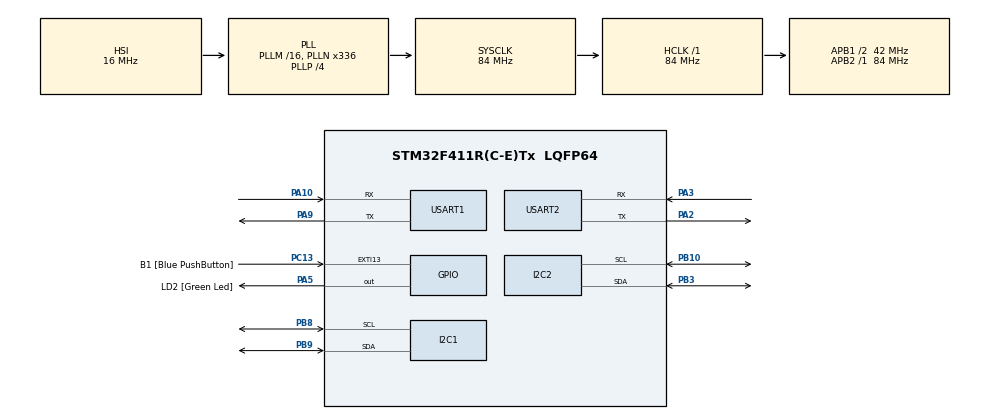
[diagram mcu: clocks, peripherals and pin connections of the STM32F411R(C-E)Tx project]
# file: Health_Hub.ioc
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FREERTOS.Mutexes01=mutexI2C,Dynamic,NULL,Available
FREERTOS.Queues01=qBPMDisplay,1,4,1,Dynamic,NULL,NULL;qTempData,1,4,1,Dynamic,NULL,NULL;qAttitudeDisplay,1,8,1,Dynamic,NULL,NULL;qAttitudeAlgo,1,24,1,Dynamic,NULL,NULL;qBPMalgo,10,uint32_t,0,Dynamic,NULL,NULL
FREERTOS.Tasks01=MotionTask,40,512,fnMotionTask,Default,NULL,Dynamic,NULL,NULL;HeartRateTask,32,128,fnHeartTask,Default,NULL,Dynamic,NULL,NULL;processTaskBPM,24,128,fnBPM,Default,NULL,Dynamic,NULL,NULL;TempTask,16,128,fnTempTask,Default,NULL,Dynamic,NULL,NULL;DisplayTask,8,512,fnDisplayTask,Default,NULL,Dynamic,NULL,NULL;AttitudeTask,32,128,fnAttitudeTask,Default,NULL,Dynamic,NULL,NULL
FREERTOS.configGENERATE_RUN_TIME_STATS=1
FREERTOS.configUSE_NEWLIB_REENTRANT=1
FREERTOS.configUSE_STATS_FORMATTING_FUNCTIONS=1
I2C2.I2C_Mode=I2C_Standard
Mcu.Family=STM32F4
Mcu.Name=STM32F411R(C-E)Tx
Mcu.Package=LQFP64
NVIC.PriorityGroup=NVIC_PRIORITYGROUP_4
NVIC.TIM1_TRG_COM_TIM11_IRQn=true\:5\:0\:false\:false\:true\:true\:true\:true\:true
NVIC.TIM1_UP_TIM10_IRQn=true\:15\:0\:false\:false\:true\:false\:false\:true\:true
NVIC.TimeBase=TIM1_UP_TIM10_IRQn
NVIC.TimeBaseIP=TIM1
PA10.Mode=Asynchronous
PA10.Signal=USART1_RX
PA13.GPIO_Label=TMS
PA13.Mode=Serial_Wire
PA13.Signal=SYS_JTMS-SWDIO
PA14.GPIO_Label=TCK
PA14.Mode=Serial_Wire
PA14.Signal=SYS_JTCK-SWCLK
PA2.Mode=Asynchronous
PA2.Signal=USART2_TX
PA3.Mode=Asynchronous
PA3.Signal=USART2_RX
PA5.GPIO_Label=LD2 [Green Led]
PA5.Signal=GPIO_Output
PA9.Mode=Asynchronous
PA9.Signal=USART1_TX
PB10.Mode=I2C
PB10.Signal=I2C2_SCL
PB3.Mode=I2C
PB3.Signal=I2C2_SDA
PB8.Mode=I2C
PB8.Signal=I2C1_SCL
PB9.Mode=I2C
PB9.Signal=I2C1_SDA
PC13-ANTI_TAMP.GPIO_Label=B1 [Blue PushButton]
PC13-ANTI_TAMP.GPIO_ModeDefaultEXTI=GPIO_MODE_IT_FALLING
PC13-ANTI_TAMP.Signal=GPXTI13
PC14-OSC32_IN.Mode=LSE-External-Oscillator
PC14-OSC32_IN.Signal=RCC_OSC32_IN
PC15-OSC32_OUT.Mode=LSE-External-Oscillator
PC15-OSC32_OUT.Signal=RCC_OSC32_OUT
PH0\ -\ OSC_IN.Mode=HSE-External-Clock-Source
PH0\ -\ OSC_IN.Signal=RCC_OSC_IN
PH1\ -\ OSC_OUT.Mode=HSE-External-Clock-Source
PH1\ -\ OSC_OUT.Signal=RCC_OSC_OUT
ProjectManager.HeapSize=0x200
ProjectManager.StackSize=0x400
ProjectManager.TargetToolchain=STM32CubeIDE
RCC.48MHZClocksFreq_Value=84000000
RCC.AHBFreq_Value=84000000
RCC.APB1CLKDivider=RCC_HCLK_DIV2
RCC.APB1Freq_Value=42000000
RCC.APB1TimFreq_Value=84000000
RCC.APB2Freq_Value=84000000
RCC.APB2TimFreq_Value=84000000
RCC.CortexFreq_Value=84000000
RCC.FLatency-AdvancedSettings=FLASH_LATENCY_2
RCC.HCLKFreq_Value=84000000
RCC.HSE_VALUE=8000000
RCC.HSI_VALUE=16000000
RCC.PLLN=336
RCC.PLLP=RCC_PLLP_DIV4
RCC.SYSCLKFreq_VALUE=84000000
RCC.SYSCLKSource=RCC_SYSCLKSOURCE_PLLCLK
RCC.VCOOutputFreq_Value=336000000
USART1.VirtualMode=VM_ASYNC
USART2.VirtualMode=VM_ASYNC
VP_FREERTOS_VS_CMSIS_V2.Mode=CMSIS_V2
VP_SYS_VS_tim1.Mode=TIM1
VP_TIM11_VS_ClockSourceINT.Mode=Enable_Timer
board=NUCLEO-F411RE

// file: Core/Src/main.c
/* USER CODE BEGIN Header */
/**
  ******************************************************************************
  * @file           : main.c
  * @brief          : Main program body
  ******************************************************************************
  * @attention
  *
  * Copyright (c) 2025 STMicroelectronics.
  * All rights reserved.
  *
  * This software is licensed under terms that can be found in the LICENSE file
  * in the root directory of this software component.
  * If no LICENSE file comes with this software, it is provided AS-IS.
  *
  ******************************************************************************
  */
/* USER CODE END Header */
#include "main.h"
#include "cmsis_os.h"

/* USER CODE BEGIN Includes */
#include "mainTask.hpp"
#include <stdio.h>
#include <string.h>
/* USER CODE END Includes */

I2C_HandleTypeDef hi2c1;
I2C_HandleTypeDef hi2c2;

TIM_HandleTypeDef htim11;

UART_HandleTypeDef huart1;
UART_HandleTypeDef huart2;

/* Definitions for MotionTask */
osThreadId_t MotionTaskHandle;
const osThreadAttr_t MotionTask_attributes = {
  .name = "MotionTask",
  .stack_size = 512 * 4,
  .priority = (osPriority_t) osPriorityHigh,
};
/* Definitions for HeartRateTask */
osThreadId_t HeartRateTaskHandle;
const osThreadAttr_t HeartRateTask_attributes = {
  .name = "HeartRateTask",
  .stack_size = 128 * 4,
  .priority = (osPriority_t) osPriorityAboveNormal,
};
/* Definitions for processTaskBPM */
osThreadId_t processTaskBPMHandle;
const osThreadAttr_t processTaskBPM_attributes = {
  .name = "processTaskBPM",
  .stack_size = 128 * 4,
  .priority = (osPriority_t) osPriorityNormal,
};
/* Definitions for TempTask */
osThreadId_t TempTaskHandle;
const osThreadAttr_t TempTask_attributes = {
  .name = "TempTask",
  .stack_size = 128 * 4,
  .priority = (osPriority_t) osPriorityBelowNormal,
};
/* Definitions for DisplayTask */
osThreadId_t DisplayTaskHandle;
const osThreadAttr_t DisplayTask_attributes = {
  .name = "DisplayTask",
  .stack_size = 512 * 4,
  .priority = (osPriority_t) osPriorityLow,
};
/* Definitions for AttitudeTask */
osThreadId_t AttitudeTaskHandle;
const osThreadAttr_t AttitudeTask_attributes = {
  .name = "AttitudeTask",
  .stack_size = 128 * 4,
  .priority = (osPriority_t) osPriorityAboveNormal,
};
/* Definitions for qBPMDisplay */
osMessageQueueId_t qBPMDisplayHandle;
const osMessageQueueAttr_t qBPMDisplay_attributes = {
  .name = "qBPMDisplay"
};
/* Definitions for qTempData */
osMessageQueueId_t qTempDataHandle;
const osMessageQueueAttr_t qTempData_attributes = {
  .name = "qTempData"
};
/* Definitions for qAttitudeDisplay */
osMessageQueueId_t qAttitudeDisplayHandle;
const osMessageQueueAttr_t qAttitudeDisplay_attributes = {
  .name = "qAttitudeDisplay"
};
/* Definitions for qAttitudeAlgo */
osMessageQueueId_t qAttitudeAlgoHandle;
const osMessageQueueAttr_t qAttitudeAlgo_attributes = {
  .name = "qAttitudeAlgo"
};
/* Definitions for qBPMalgo */
osMessageQueueId_t qBPMalgoHandle;
const osMessageQueueAttr_t qBPMalgo_attributes = {
  .name = "qBPMalgo"
};
/* Definitions for mutexI2C */
osMutexId_t mutexI2CHandle;
const osMutexAttr_t mutexI2C_attributes = {
  .name = "mutexI2C"
};

void SystemClock_Config(void);
static void MX_GPIO_Init(void);
static void MX_I2C1_Init(void);
static void MX_I2C2_Init(void);
static void MX_USART1_UART_Init(void);
static void MX_USART2_UART_Init(void);
static void MX_TIM11_Init(void);
void fnMotionTask(void *argument);
void fnHeartTask(void *argument);
void fnBPM(void *argument);
void fnTempTask(void *argument);
void fnDisplayTask(void *argument);
void fnAttitudeTask(void *argument);

int main(void)
{

  /* MCU Configuration--------------------------------------------------------*/

  /* Reset of all peripherals, Initializes the Flash interface and the Systick. */
  HAL_Init();

  /* Configure the system clock */
  SystemClock_Config();

  /* Initialize all configured peripherals */
  MX_GPIO_Init();
  MX_I2C1_Init();
  MX_I2C2_Init();
  MX_USART1_UART_Init();
  MX_USART2_UART_Init();
  MX_TIM11_Init();
  /* USER CODE BEGIN 2 */
  initMPUC();
  initBpmC();
  initTempC();
  initDisplayC();
  /* USER CODE END 2 */

  /* Init scheduler */
  osKernelInitialize();
  /* Create the mutex(es) */
  /* creation of mutexI2C */
  mutexI2CHandle = osMutexNew(&mutexI2C_attributes);

  /* Create the queue(s) */
  /* creation of qBPMDisplay */
  qBPMDisplayHandle = osMessageQueueNew (1, 4, &qBPMDisplay_attributes);

  /* creation of qTempData */
  qTempDataHandle = osMessageQueueNew (1, 4, &qTempData_attributes);

  /* creation of qAttitudeDisplay */
  qAttitudeDisplayHandle = osMessageQueueNew (1, 8, &qAttitudeDisplay_attributes);

  /* creation of qAttitudeAlgo */
  qAttitudeAlgoHandle = osMessageQueueNew (1, 24, &qAttitudeAlgo_attributes);

  /* creation of qBPMalgo */
  qBPMalgoHandle = osMessageQueueNew (10, sizeof(uint32_t), &qBPMalgo_attributes);

  /* Create the thread(s) */
  /* creation of MotionTask */
  MotionTaskHandle = osThreadNew(fnMotionTask, NULL, &MotionTask_attributes);

  /* creation of HeartRateTask */
  HeartRateTaskHandle = osThreadNew(fnHeartTask, NULL, &HeartRateTask_attributes);

  /* creation of processTaskBPM */
  processTaskBPMHandle = osThreadNew(fnBPM, NULL, &processTaskBPM_attributes);

  /* creation of TempTask */
  TempTaskHandle = osThreadNew(fnTempTask, NULL, &TempTask_attributes);

  /* creation of DisplayTask */
  DisplayTaskHandle = osThreadNew(fnDisplayTask, NULL, &DisplayTask_attributes);

  /* creation of AttitudeTask */
  AttitudeTaskHandle = osThreadNew(fnAttitudeTask, NULL, &AttitudeTask_attributes);

  /* Start scheduler */
  osKernelStart();

  /* We should never get here as control is now taken by the scheduler */

  /* Infinite loop */
  /* USER CODE BEGIN WHILE */

  //Never reached
  while (1)
  {
    /* USER CODE END WHILE */

  }
}

void SystemClock_Config(void)
{
  RCC_OscInitTypeDef RCC_OscInitStruct = {0};
  RCC_ClkInitTypeDef RCC_ClkInitStruct = {0};

  /** Configure the main internal regulator output voltage
  */
  __HAL_RCC_PWR_CLK_ENABLE();
  __HAL_PWR_VOLTAGESCALING_CONFIG(PWR_REGULATOR_VOLTAGE_SCALE1);

  /** Initializes the RCC Oscillators according to the specified parameters
  * in the RCC_OscInitTypeDef structure.
  */
  RCC_OscInitStruct.OscillatorType = RCC_OSCILLATORTYPE_HSI;
  RCC_OscInitStruct.HSIState = RCC_HSI_ON;
  RCC_OscInitStruct.HSICalibrationValue = RCC_HSICALIBRATION_DEFAULT;
  RCC_OscInitStruct.PLL.PLLState = RCC_PLL_ON;
  RCC_OscInitStruct.PLL.PLLSource = RCC_PLLSOURCE_HSI;
  RCC_OscInitStruct.PLL.PLLM = 16;
  RCC_OscInitStruct.PLL.PLLN = 336;
  RCC_OscInitStruct.PLL.PLLP = RCC_PLLP_DIV4;
  RCC_OscInitStruct.PLL.PLLQ = 4;
  if (HAL_RCC_OscConfig(&RCC_OscInitStruct) != HAL_OK)
  {
    Error_Handler();
  }

  /** Initializes the CPU, AHB and APB buses clocks
  */
  RCC_ClkInitStruct.ClockType = RCC_CLOCKTYPE_HCLK|RCC_CLOCKTYPE_SYSCLK
                              |RCC_CLOCKTYPE_PCLK1|RCC_CLOCKTYPE_PCLK2;
  RCC_ClkInitStruct.SYSCLKSource = RCC_SYSCLKSOURCE_PLLCLK;
  RCC_ClkInitStruct.AHBCLKDivider = RCC_SYSCLK_DIV1;
  RCC_ClkInitStruct.APB1CLKDivider = RCC_HCLK_DIV2;
  RCC_ClkInitStruct.APB2CLKDivider = RCC_HCLK_DIV1;

  if (HAL_RCC_ClockConfig(&RCC_ClkInitStruct, FLASH_LATENCY_2) != HAL_OK)
  {
    Error_Handler();
  }
}

static void MX_I2C1_Init(void)
{

  hi2c1.Instance = I2C1;
  hi2c1.Init.ClockSpeed = 100000;
  hi2c1.Init.DutyCycle = I2C_DUTYCYCLE_2;
  hi2c1.Init.OwnAddress1 = 0;
  hi2c1.Init.AddressingMode = I2C_ADDRESSINGMODE_7BIT;
  hi2c1.Init.DualAddressMode = I2C_DUALADDRESS_DISABLE;
  hi2c1.Init.OwnAddress2 = 0;
  hi2c1.Init.GeneralCallMode = I2C_GENERALCALL_DISABLE;
  hi2c1.Init.NoStretchMode = I2C_NOSTRETCH_DISABLE;
  if (HAL_I2C_Init(&hi2c1) != HAL_OK)
  {
    Error_Handler();
  }

}

static void MX_I2C2_Init(void)
{

  hi2c2.Instance = I2C2;
  hi2c2.Init.ClockSpeed = 100000;
  hi2c2.Init.DutyCycle = I2C_DUTYCYCLE_2;
  hi2c2.Init.OwnAddress1 = 0;
  hi2c2.Init.AddressingMode = I2C_ADDRESSINGMODE_7BIT;
  hi2c2.Init.DualAddressMode = I2C_DUALADDRESS_DISABLE;
  hi2c2.Init.OwnAddress2 = 0;
  hi2c2.Init.GeneralCallMode = I2C_GENERALCALL_DISABLE;
  hi2c2.Init.NoStretchMode = I2C_NOSTRETCH_DISABLE;
  if (HAL_I2C_Init(&hi2c2) != HAL_OK)
  {
    Error_Handler();
  }
}

static void MX_TIM11_Init(void)
{

  htim11.Instance = TIM11;
  htim11.Init.Prescaler = 0;
  htim11.Init.CounterMode = TIM_COUNTERMODE_UP;
  htim11.Init.Period = 65535;
  htim11.Init.ClockDivision = TIM_CLOCKDIVISION_DIV1;
  htim11.Init.AutoReloadPreload = TIM_AUTORELOAD_PRELOAD_DISABLE;
  if (HAL_TIM_Base_Init(&htim11) != HAL_OK)
  {
    Error_Handler();
  }

}

static void MX_USART1_UART_Init(void)
{

  huart1.Instance = USART1;
  huart1.Init.BaudRate = 115200;
  huart1.Init.WordLength = UART_WORDLENGTH_8B;
  huart1.Init.StopBits = UART_STOPBITS_1;
  huart1.Init.Parity = UART_PARITY_NONE;
  huart1.Init.Mode = UART_MODE_TX_RX;
  huart1.Init.HwFlowCtl = UART_HWCONTROL_NONE;
  huart1.Init.OverSampling = UART_OVERSAMPLING_16;
  if (HAL_UART_Init(&huart1) != HAL_OK)
  {
    Error_Handler();
  }

}

static void MX_USART2_UART_Init(void)
{

  huart2.Instance = USART2;
  huart2.Init.BaudRate = 115200;
  huart2.Init.WordLength = UART_WORDLENGTH_8B;
  huart2.Init.StopBits = UART_STOPBITS_1;
  huart2.Init.Parity = UART_PARITY_NONE;
  huart2.Init.Mode = UART_MODE_TX_RX;
  huart2.Init.HwFlowCtl = UART_HWCONTROL_NONE;
  huart2.Init.OverSampling = UART_OVERSAMPLING_16;
  if (HAL_UART_Init(&huart2) != HAL_OK)
  {
    Error_Handler();
  }

}

static void MX_GPIO_Init(void)
{
  GPIO_InitTypeDef GPIO_InitStruct = {0};

  /* GPIO Ports Clock Enable */
  __HAL_RCC_GPIOC_CLK_ENABLE();
  __HAL_RCC_GPIOH_CLK_ENABLE();
  __HAL_RCC_GPIOA_CLK_ENABLE();
  __HAL_RCC_GPIOB_CLK_ENABLE();

  /*Configure GPIO pin Output Level */
  HAL_GPIO_WritePin(LD2_GPIO_Port, LD2_Pin, GPIO_PIN_RESET);

  /*Configure GPIO pin : B1_Pin */
  GPIO_InitStruct.Pin = B1_Pin;
  GPIO_InitStruct.Mode = GPIO_MODE_IT_FALLING;
  GPIO_InitStruct.Pull = GPIO_NOPULL;
  HAL_GPIO_Init(B1_GPIO_Port, &GPIO_InitStruct);

  /*Configure GPIO pin : LD2_Pin */
  GPIO_InitStruct.Pin = LD2_Pin;
  GPIO_InitStruct.Mode = GPIO_MODE_OUTPUT_PP;
  GPIO_InitStruct.Pull = GPIO_NOPULL;
  GPIO_InitStruct.Speed = GPIO_SPEED_FREQ_LOW;
  HAL_GPIO_Init(LD2_GPIO_Port, &GPIO_InitStruct);

}

void fnMotionTask(void *argument)
{
  /* USER CODE BEGIN 5 */
	sensor_vec3_t a, g;
	imu_data_t data;
  /* Infinite loop */
  for(;;)
  {	osMutexAcquire(mutexI2CHandle, osWaitForever);
	 getAccelGyroC(&a, &g);
	 osMutexRelease(mutexI2CHandle);
	 data.accel = a;
	 data.gyro  =g;
osMessageQueuePut(qAttitudeAlgoHandle, &data, 0, 0);

    osDelay(50);
  }
  /* USER CODE END 5 */
}

void fnHeartTask(void *argument)
{
  /* USER CODE BEGIN fnHeartTask */
	//osMutexAcquire(mutexI2CHandle, osWaitForever);

	//osMutexRelease(mutexI2CHandle);
	long irSample;
  /* Infinite loop */
  for(;;)
  {
	  osMutexAcquire(mutexI2CHandle, osWaitForever);
	  	irSample = acquireHeartSampleC();
	  	osMutexRelease(mutexI2CHandle);
		// Envoyer l'échantillon à la task de calcul
		osMessageQueuePut(qBPMalgoHandle, &irSample, 0, 10);
    osDelay(10);
  }
  /* USER CODE END fnHeartTask */
}

void fnBPM(void *argument)
{
  /* USER CODE BEGIN fnBPM */
	long irSample;
	int beat;
  /* Infinite loop */
  for(;;)
  {
	  if (osMessageQueueGet(qBPMalgoHandle, &irSample, NULL, osWaitForever) == osOK)
	  	{
	  		// Calculer le BPM à partir de l'échantillon
	  		beat = calculateBPMC(irSample);

	  		// Envoyer le résultat à l'affichage
	  		osMessageQueuePut(qBPMDisplayHandle, &beat, 0, 10);
	  	}
	  osDelay(10);
	    }
  /* USER CODE END fnBPM */
}

void fnTempTask(void *argument)
{
  /* USER CODE BEGIN fnTempTask */
	//osMutexAcquire(mutexI2CHandle, osWaitForever);

	//osMutexRelease(mutexI2CHandle);
	float temp = 00.00f;
	//uint8_t buf[32]="je suis task temp\r\n";
  /* Infinite loop */
  for(;;)
  {
	  HAL_GPIO_TogglePin(LD2_GPIO_Port, LD2_Pin);
		osMutexAcquire(mutexI2CHandle, osWaitForever);
		temp = getTempC();
		osMutexRelease(mutexI2CHandle);

	  osMessageQueuePut(qTempDataHandle, &temp, 0, 0);

	          // envoyer sur UART2
	osDelay(1000);
  }
  /* USER CODE END fnTempTask */
}

void fnDisplayTask(void *argument)
{
  /* USER CODE BEGIN fnDisplayTask */
	float temp = 22.00f;
	int beat;
	imu_norm_t norm;
	float accel_norm;
	float gyro_norm;
  /* Infinite loop */
  for(;;)
  {
	  osMessageQueueGet(qTempDataHandle, &temp, NULL, 0);
	  osMessageQueueGet(qBPMDisplayHandle, &beat, NULL, 0);
	  osMessageQueueGet(qAttitudeDisplayHandle, &norm, NULL, 0);
	  accel_norm = norm.accel_norm;
	  gyro_norm = norm.gyro_norm;
	  displayC(temp, beat,accel_norm,gyro_norm);
    osDelay(100);
  }
  /* USER CODE END fnDisplayTask */
}

void fnAttitudeTask(void *argument)
{
  /* USER CODE BEGIN fnAttitudeTask */
	imu_data_t data;
	imu_norm_t norm;
  /* Infinite loop */
  for(;;)
  {
	  osMessageQueueGet(qAttitudeAlgoHandle, &data, NULL, 0);
	  norm = calculateNormsC(&data);
	  osMessageQueuePut(qAttitudeDisplayHandle, &norm, 0, 0);
    osDelay(100);
  }
  /* USER CODE END fnAttitudeTask */
}

void HAL_TIM_PeriodElapsedCallback(TIM_HandleTypeDef *htim)
{
  if (htim->Instance == TIM1)
  {
    HAL_IncTick();
  }
}

void Error_Handler(void)
{
  __disable_irq();
  while (1)
  {
  }
}

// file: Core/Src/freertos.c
/* USER CODE BEGIN Header */
/**
  ******************************************************************************
  * File Name          : freertos.c
  * Description        : Code for freertos applications
  ******************************************************************************
  * @attention
  *
  * Copyright (c) 2025 STMicroelectronics.
  * All rights reserved.
  *
  * This software is licensed under terms that can be found in the LICENSE file
  * in the root directory of this software component.
  * If no LICENSE file comes with this software, it is provided AS-IS.
  *
  ******************************************************************************
  */
/* USER CODE END Header */

#include "FreeRTOS.h"
#include "task.h"
#include "main.h"

/* USER CODE BEGIN Includes */
extern TIM_HandleTypeDef htim11;
/* USER CODE END Includes */

/* Hook prototypes */
void configureTimerForRunTimeStats(void);
unsigned long getRunTimeCounterValue(void);

/* USER CODE BEGIN 1 */
/* Functions needed when configGENERATE_RUN_TIME_STATS is on */
__weak void configureTimerForRunTimeStats(void)
{
	HAL_TIM_Base_Start_IT(&htim11);
}
extern volatile unsigned long ulHighFrequencyTimerTicks;
__weak unsigned long getRunTimeCounterValue(void)
{
	return ulHighFrequencyTimerTicks;
}
/* USER CODE END 1 */
